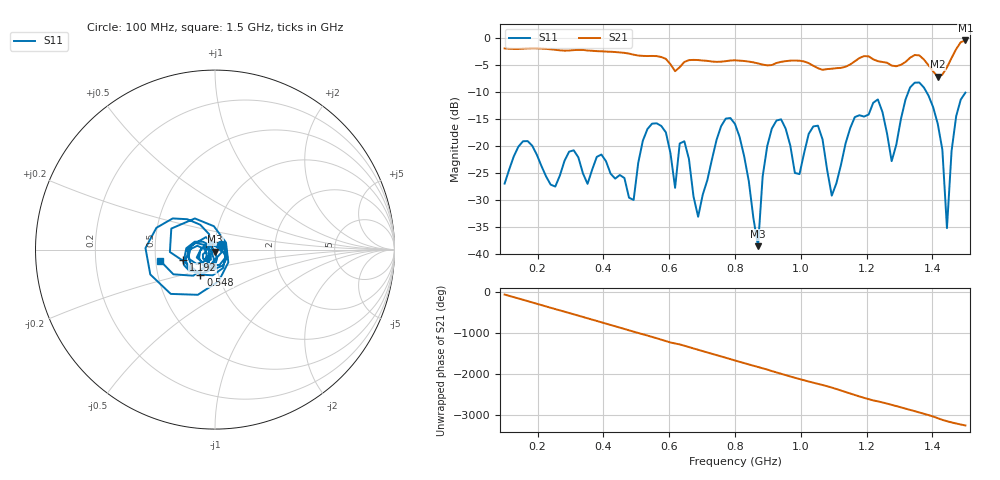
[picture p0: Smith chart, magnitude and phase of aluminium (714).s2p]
! NanoVNA-App
! Date: 2025-09-25 15:00:50
! Start: 100MHz Stop: 1,5GHz Points: 101
! S-Parameter data: F S11 S21 S12 S22
# Hz S RI R 50
!  Frequency  S11_Real  S11_Imag  S21_Real  S21_Imag  S12_Real  S12_Imag  S22_Real  S22_Imag
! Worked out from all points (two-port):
!   101 points, 100 MHz to 1.5 GHz, reference 50 ohm
!   highest |S21| = -0.44 dB at 1.5 GHz (marker M1); lowest = -7.2 dB at 1.416 GHz (marker M2)
!   |S21| within 3 dB of the highest: start of sweep to 570.4 MHz; 1.46 GHz to end of sweep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
!   lowest |S11| = -38.5 dB at 870 MHz (marker M3), VSWR 1.02, Z = 50 - j1.18 ohm
!   |S11| at or under -10 dB: start of sweep to 1.327 GHz; 1.382 GHz to end of sweep
!   S12 and S22 are empty: the file has one direction only
!   S11 on the Smith chart (normalised r, x): 100 MHz: 1.07, +0.06; 548 MHz: 0.82, -0.23; 1.192 GHz: 0.69, -0.09; 1.5 GHz: 0.53, -0.07
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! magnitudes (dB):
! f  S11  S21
! 100 MHz  -27.0  -1.9
! 156 MHz  -19.1  -2.0
! 338 MHz  -25.1  -2.2
! 492 MHz  -30.0  -3.1
! 548 MHz  -15.9  -3.3
! 576 MHz  -16.3  -3.5
! 618 MHz  -27.7  -6.1
! 646 MHz  -19.1  -4.4
! 688 MHz  -33.1  -4.1
! 800 MHz  -15.9  -4.1
! 870 MHz  -38.5  -4.7
! 912 MHz  -16.7  -5.0
! 996 MHz  -25.2  -4.2
! 1.038 GHz  -16.4  -5.1
! 1.094 GHz  -29.2  -5.7
! 1.192 GHz  -14.5  -3.3
! 1.276 GHz  -22.8  -5.1
! 1.346 GHz  -8.3  -3.1
! 1.416 GHz  -15.9  -7.2
! 1.444 GHz  -35.2  -5.4
! 1.472 GHz  -14.5  -2.0
! 1.5 GHz  -10.1  -0.4
